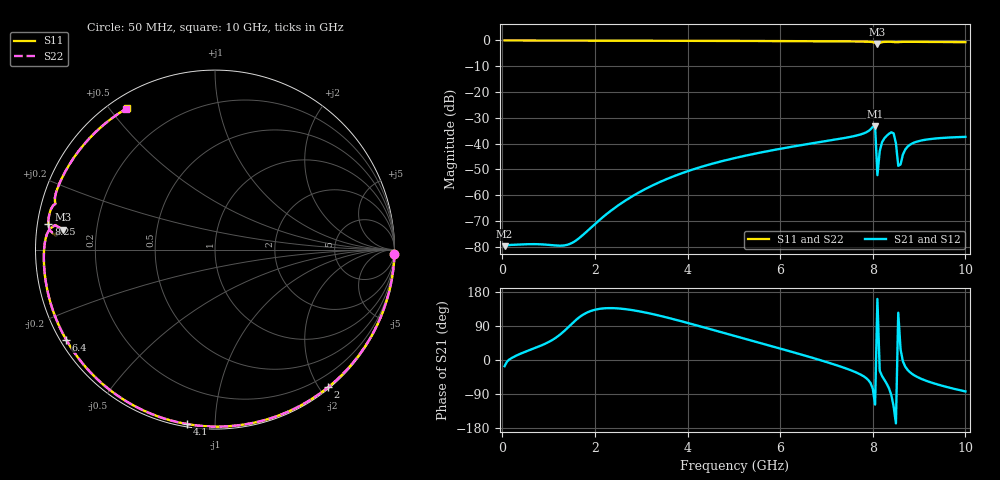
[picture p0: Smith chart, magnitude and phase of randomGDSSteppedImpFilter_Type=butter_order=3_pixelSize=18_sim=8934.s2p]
! freq	dB(S11)	phase(S11)	dB(S12)	phase(S12)
!  dB(S21)	phase(S21)	dB(S22)	phase(S22)
!S-par simulation data
#  GHz  S  DB  R 50
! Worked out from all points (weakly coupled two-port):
!   200 points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, 50 MHz to 10 GHz, reference 50 ohm
!   highest |S21| = -33.28 dB at 8.05 GHz (marker M1); lowest = -79.8 dB at 50 MHz (marker M2)
!   lowest |S11| = -1.4 dB at 8.1 GHz (marker M3), VSWR 12.75, Z = 3.94 + j3.23 ohm
!   |S11| at or under -10 dB: nowhere
!   |S22| runs from -1.3 to 0.0 dB; largest |S21 - S12| = 0
!   S11 on the Smith chart (normalised r, x): 50 MHz: 0, -88; 2 GHz: 0.02, -2.12; 4.1 GHz: 0.01, -0.85; 6.4 GHz: 0.02, -0.28; 8.25 GHz: 0.03, +0.08; 10 GHz: 0.05, +0.55
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0.05  -0.00 -1.3  -79.76 -16.2  -79.76 -16.2  -0.00 -1.3
1.35  -0.04 -34.5  -79.43 77.9  -79.43 77.9  -0.04 -34.5
1.75  -0.06 -44.4  -75.26 120.0  -75.26 120.0  -0.06 -44.4
2  -0.06 -50.5  -71.17 132.6  -71.17 132.6  -0.06 -50.5
3.4  -0.11 -83.5  -54.91 116.8  -54.91 116.8  -0.11 -83.5
4.1  -0.14 -99.1  -50.11 94.6  -50.11 94.6  -0.14 -99.1
5.05  -0.18 -119.8  -45.47 62.5  -45.47 62.5  -0.18 -119.8
6.4  -0.27 -148.8  -40.75 16.4  -40.75 16.4  -0.27 -148.7
6.7  -0.30 -155.4  -39.85 5.7  -39.85 5.7  -0.30 -155.3
7.7  -0.41 -178.4  -36.64 -36.1  -36.64 -36.1  -0.41 -178.3
8.05  -0.92 171.2  -33.28 -117.7  -33.28 -117.7  -0.89 171.3
8.1  -1.37 172.6  -52.22 161.1  -52.22 161.1  -1.35 172.3
8.15  -0.99 175.0  -42.93 -28.1  -42.93 -28.1  -1.03 175.0
8.25  -0.55 171.3  -37.95 -52.3  -37.95 -52.3  -0.55 171.5
8.35  -0.50 167.9  -36.18 -74.5  -36.18 -74.5  -0.50 168.0
8.45  -0.58 164.7  -36.02 -122.2  -36.02 -122.2  -0.58 164.9
8.5  -0.68 163.9  -39.83 -167.3  -39.83 -167.3  -0.67 164.0
8.55  -0.62 163.3  -48.59 124.7  -48.59 124.7  -0.62 163.4
8.6  -0.56 162.0  -48.08 27.9  -48.08 27.9  -0.56 162.1
8.7  -0.52 159.1  -42.33 -17.3  -42.33 -17.3  -0.52 159.3
8.9  -0.53 153.6  -39.54 -40.7  -39.54 -40.7  -0.53 153.8
10  -0.65 121.9  -37.38 -82.9  -37.38 -82.9  -0.65 122.2
